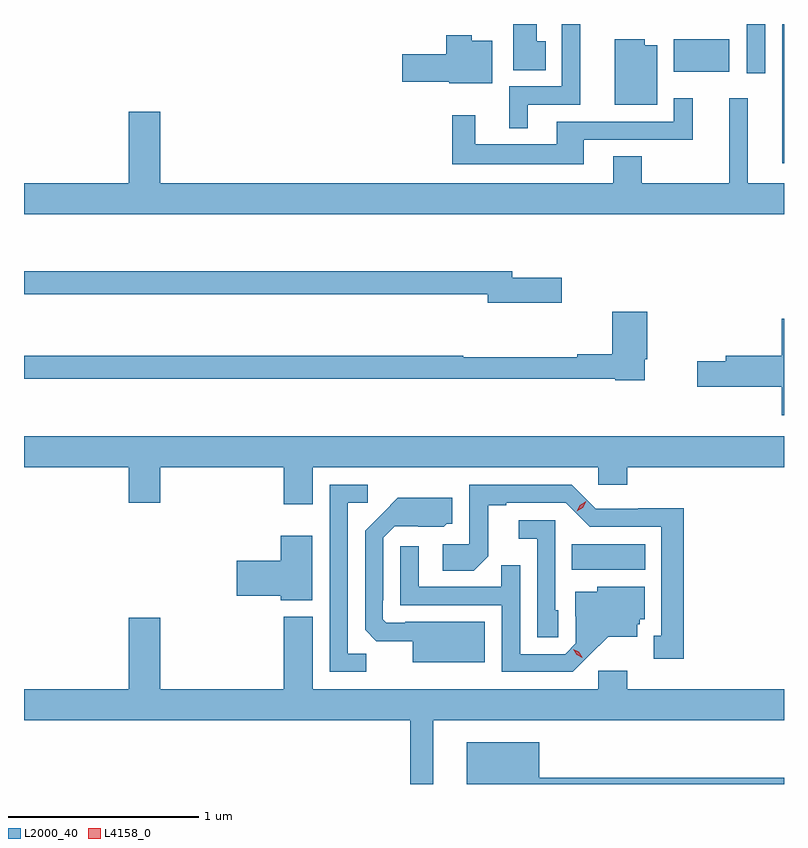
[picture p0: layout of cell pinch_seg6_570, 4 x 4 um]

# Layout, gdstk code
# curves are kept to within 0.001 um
import gdstk
lib = gdstk.Library(unit=1e-6, precision=1e-09)
def R(c, l, rs):  # rectangles x0, y0, x1, y1
    for r in rs: c.add(gdstk.rectangle(r[:2], r[2:], *l))
def P(c, l, *ps):  # polygons
    for p in ps: c.add(gdstk.Polygon(p, *l))
L2000_40 = (2000, 40)
L4158_0 = (4158, 0)

pinch_seg6_570 = lib.new_cell('pinch_seg6_570')
R(pinch_seg6_570, L2000_40, [(622.882,970.772,623.269,970.906), (623.99,972.912,624,973.645), (623.805,973.386,623.901,973.645), (623.42,973.394,623.713,973.564)])
P(pinch_seg6_570, L2000_40, [(622.651,973.221),(622.928,973.221),(622.928,973.645),(622.83,973.645),(622.83,973.317),(622.553,973.317),(622.553,973.097),(622.651,973.097)],
  [(622.745,973.554),(622.699,973.554),(622.699,973.645),(622.574,973.645),(622.574,973.402),(622.745,973.402)],
  [(622.465,973.558),(622.356,973.558),(622.356,973.585),(622.223,973.585),(622.223,973.487),(621.99,973.487),(621.99,973.34),(622.239,973.34),(622.239,973.334),(622.465,973.334)],
  [(623.332,973.534),(623.266,973.534),(623.266,973.564),(623.108,973.564),(623.108,973.22),(623.332,973.22)],
  [(624,972.808),(623.81,972.808),(623.81,973.255),(623.711,973.255),(623.711,972.808),(623.25,972.808),(623.25,972.95),(623.102,972.95),(623.102,972.808),(620.716,972.808),(620.716,973.183),(620.552,973.183),(620.552,972.808),(620,972.808),(620,972.644),(624,972.644)],
  [(622.945,973.035),(623.519,973.035),(623.519,973.255),(623.421,973.255),(623.421,973.131),(622.805,973.131),(622.805,973.012),(622.375,973.012),(622.375,973.165),(622.254,973.165),(622.254,972.908),(622.945,972.908)],
  [(622.831,972.309),(622.57,972.309),(622.57,972.343),(620,972.343),(620,972.222),(622.442,972.222),(622.442,972.179),(622.831,972.179)],
  [(623.266,971.881),(623.279,971.881),(623.279,972.13),(623.096,972.13),(623.096,971.906),(622.912,971.906),(622.912,971.891),(622.312,971.891),(622.312,971.899),(620,971.899),(620,971.778),(623.112,971.778),(623.112,971.77),(623.266,971.77)],
  [(624,972.093),(623.989,972.093),(623.989,971.9),(623.693,971.9),(623.693,971.87),(623.544,971.87),(623.544,971.735),(623.989,971.735),(623.989,971.586),(624,971.586)],
  [(621.52,971.312),(623.022,971.312),(623.022,971.219),(623.174,971.219),(623.174,971.312),(624,971.312),(624,971.476),(620,971.476),(620,971.312),(620.552,971.312),(620.552,971.124),(620.716,971.124),(620.716,971.312),(621.368,971.312),(621.368,971.118),(621.52,971.118)],
  [(621.801,970.331),(621.705,970.331),(621.705,971.124),(621.808,971.124),(621.808,971.22),(621.609,971.22),(621.609,970.236),(621.801,970.236)],
  [(623.473,971.096),(623.232,971.096),(623.232,971.094),(623.01,971.094),(622.884,971.22),(622.344,971.22),(622.344,970.908),(622.203,970.908),(622.203,970.768),(622.367,970.768),(622.443,970.844),(622.443,971.112),(622.537,971.112),(622.537,971.124),(622.851,971.124),(622.977,970.998),(623.354,970.998),(623.354,970.425),(623.315,970.425),(623.315,970.305),(623.473,970.305)],
  [(622.426,970.498),(622.006,970.498),(622.006,970.494),(621.906,970.494),(621.888,970.512),(621.888,970.612),(621.891,970.612),(621.891,970.941),(621.951,971.001),(622.208,971),(622.224,971.016),(622.255,971.016),(622.255,971.152),(621.967,971.152),(621.795,970.978),(621.795,970.456),(621.854,970.397),(622.046,970.397),(622.046,970.286),(622.426,970.286)],
  [(622.812,970.56),(622.797,970.56),(622.797,971.034),(622.605,971.034),(622.605,970.937),(622.701,970.937),(622.701,970.417),(622.812,970.417)],
  [(621.517,970.951),(621.35,970.951),(621.35,970.82),(621.12,970.82),(621.12,970.637),(621.35,970.637),(621.35,970.613),(621.517,970.613)],
  [(622.972,970.319),(623.075,970.421),(623.227,970.421),(623.227,970.485),(623.241,970.485),(623.241,970.512),(623.266,970.512),(623.266,970.684),(623.016,970.684),(623.016,970.657),(622.901,970.657),(622.901,970.528),(622.905,970.528),(622.905,970.386),(622.848,970.329),(622.611,970.329),(622.611,970.796),(622.513,970.796),(622.513,970.683),(622.077,970.683),(622.077,970.897),(621.981,970.897),(621.981,970.587),(622.515,970.587),(622.515,970.236),(622.888,970.236)],
  [(622.153,969.98),(624,969.98),(624,970.144),(623.174,970.144),(623.174,970.24),(623.022,970.24),(623.022,970.144),(621.52,970.144),(621.52,970.525),(621.368,970.525),(621.368,970.144),(620.716,970.144),(620.716,970.519),(620.552,970.519),(620.552,970.144),(620,970.144),(620,969.98),(622.032,969.98),(622.032,969.645),(622.153,969.645)],
  [(624,969.679),(622.711,969.679),(622.711,969.865),(622.331,969.865),(622.331,969.645),(624,969.645)])
P(pinch_seg6_570, L4158_0, [(622.908,971.08),(622.908,971.081),(622.926,971.113),(622.958,971.132),(622.958,971.132),(622.958,971.132),(622.94,971.099),(622.908,971.08)],
  [(622.939,970.31),(622.908,970.325),(622.89,970.355),(622.89,970.355),(622.89,970.355),(622.921,970.34),(622.939,970.311),(622.939,970.31)])

lib.write_gds('pinch_seg6_570.gds')
